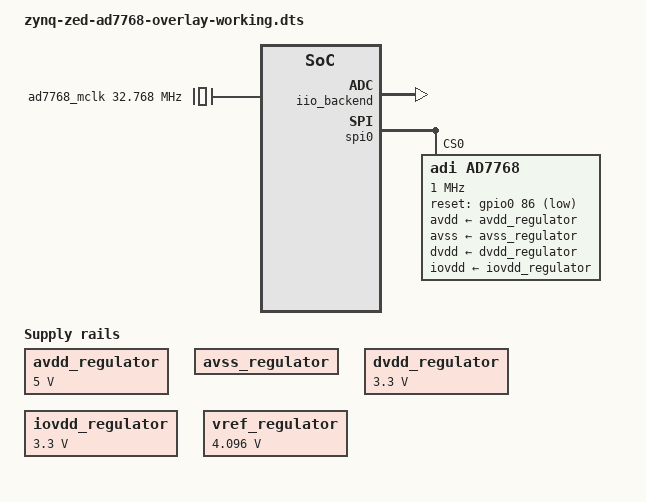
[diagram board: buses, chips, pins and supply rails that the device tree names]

/dts-v1/;
/plugin/;

#include <dt-bindings/gpio/gpio.h>

/ {
	fragment@0 {
		target-path = "/";
		__overlay__ {
			avdd_regulator: avdd-regulator {
				compatible = "regulator-fixed";
				regulator-name = "avdd";
				regulator-min-microvolt = <5000000>;
				regulator-max-microvolt = <5000000>;
				regulator-always-on;
			};

			avss_regulator: avss-regulator {
				compatible = "regulator-fixed";
				regulator-name = "avss";
				regulator-min-microvolt = <0>;
				regulator-max-microvolt = <0>;
				regulator-always-on;
			};

			dvdd_regulator: dvdd-regulator {
				compatible = "regulator-fixed";
				regulator-name = "dvdd";
				regulator-min-microvolt = <3300000>;
				regulator-max-microvolt = <3300000>;
				regulator-always-on;
			};

			iovdd_regulator: iovdd-regulator {
				compatible = "regulator-fixed";
				regulator-name = "iovdd";
				regulator-min-microvolt = <3300000>;
				regulator-max-microvolt = <3300000>;
				regulator-always-on;
			};

			vref_regulator: vref-regulator {
				compatible = "regulator-fixed";
				regulator-name = "vref";
				regulator-min-microvolt = <4096000>;
				regulator-max-microvolt = <4096000>;
				regulator-always-on;
			};

			axi_clk: axi_clk {
				compatible = "fixed-clock";
				clock-frequency = <100000000>;
				clock-output-names = "axi-clk";
				#clock-cells = <0>;
			};

			ad7768_mclk: ad7768_mclk {
				compatible = "fixed-clock";
				clock-frequency = <32768000>;
				clock-output-names = "ad7768-mclk";
				#clock-cells = <0>;
			};
		};
	};

	fragment@1 {
		target-path = "/fpga-axi@0";
		__overlay__ {
			#address-cells = <1>;
			#size-cells = <1>;

			rx_dma: dmac@7c480000 {
				compatible = "adi,axi-dmac-1.00.a";
				reg = <0x7c480000 0x1000>;
				#dma-cells = <1>;
				interrupt-parent = <&intc>;
				interrupts = <0 54 4>;
				clocks = <&clkc 15>;

				adi,channels {
					#size-cells = <0>;
					#address-cells = <1>;

					dma_channel: dma-channel@0 {
						reg = <0>;
						adi,source-bus-width = <128>;
						adi,source-bus-type = <2>;
						adi,destination-bus-width = <64>;
						adi,destination-bus-type = <0>;
					};
				};
			};

			iio_backend: axi_adc@43c00000 {
				compatible = "adi,axi-adc-10.0.a";
				reg = <0x43c00000 0x10000>;
				dmas = <&rx_dma 0>;
				dma-names = "rx";
				clocks = <&axi_clk>;
				spibus-connected = <&ad7768>;
			};
		};
	};

	fragment@2 {
		target = <&spi0>;
		__overlay__ {
			status = "okay";
			#address-cells = <1>;
			#size-cells = <0>;
			ad7768: adc@0 {
				compatible = "adi,ad7768";
				reg = <0>;
				spi-max-frequency = <1000000>;

				avdd-supply = <&avdd_regulator>;
				avss-supply = <&avss_regulator>;
				dvdd-supply = <&dvdd_regulator>;
				iovdd-supply = <&iovdd_regulator>;
				vref-supply = <&vref_regulator>;
				reset-gpios = <&gpio0 86 GPIO_ACTIVE_LOW>;

				clocks = <&ad7768_mclk>;

				adi,data-lines-number = <8>;
				adi,common-mode-output = "2.5V";
				adi,power-mode = "median";

				gpio-controller;
				#gpio-cells = <2>;

				io-backends = <&iio_backend>;

				#address-cells = <1>;
				#size-cells = <0>;

				channel@0 {
					reg = <0>;
					adi,ch-mode = <0>;
				};

				channel@1 {
					reg = <1>;
					adi,ch-mode = <0>;
				};

				channel@2 {
					reg = <2>;
					adi,ch-mode = <0>;
				};

				channel@3 {
					reg = <3>;
					adi,ch-mode = <0>;
				};

				channel@4 {
					reg = <4>;
					adi,ch-mode = <0>;
				};

				channel@5 {
					reg = <5>;
					adi,ch-mode = <0>;
				};

				channel@6 {
					reg = <6>;
					adi,ch-mode = <0>;
				};

				channel@7 {
					reg = <7>;
					adi,ch-mode = <0>;
				};
			};
		};
	};
};
